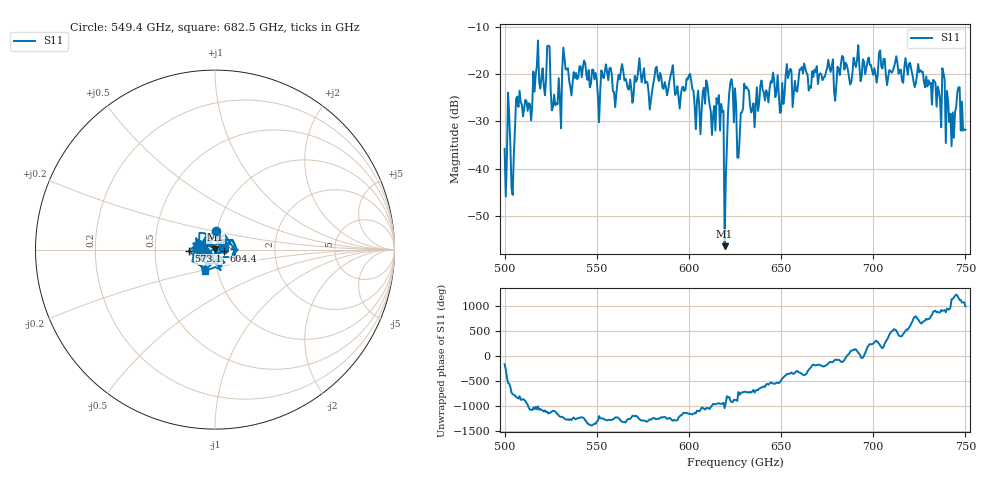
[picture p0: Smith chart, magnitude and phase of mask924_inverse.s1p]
!Created with skrf (http://scikit-rf.org).
# GHz S MA R 50.0
!freq magS11 angS11
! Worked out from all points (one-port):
!   401 points, 500 GHz to 750 GHz, reference 50 ohm
!   lowest |S11| = -56.4 dB at 619.4 GHz (marker M1), VSWR 1.00, Z = 50.1 + j0.101 ohm
!   |S11| at or under -10 dB: start of sweep to end of sweep
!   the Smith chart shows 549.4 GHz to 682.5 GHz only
!   S11 on the Smith chart (normalised r, x): 549.4 GHz: 0.99, +0.20; 573.1 GHz: 0.74, -0.01; 604.4 GHz: 1.11, -0.02; 682.5 GHz: 0.87, -0.21
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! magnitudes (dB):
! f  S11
! 500 GHz  -35.8
! 504.4 GHz  -45.5
! 507.5 GHz  -27.0
! 513.8 GHz  -26.4
! 516.9 GHz  -20.2
! 523.8 GHz  -14.0
! 526.9 GHz  -24.3
! 531.2 GHz  -19.0
! 549.4 GHz  -19.8
! 562.5 GHz  -21.1
! 573.1 GHz  -16.7
! 593.8 GHz  -22.6
! 600 GHz  -20.3
! 604.4 GHz  -25.8
! 617.5 GHz  -26.3
! 619.4 GHz  -56.4
! 622.5 GHz  -21.8
! 625 GHz  -23.0
! 627.5 GHz  -33.8
! 631.2 GHz  -22.7
! 635 GHz  -26.2
! 656.2 GHz  -27.0
! 682.5 GHz  -17.7
! 687.5 GHz  -22.2
! 718.8 GHz  -20.1
! 742.5 GHz  -35.3
! 746.9 GHz  -22.8
! 750 GHz  -31.8
